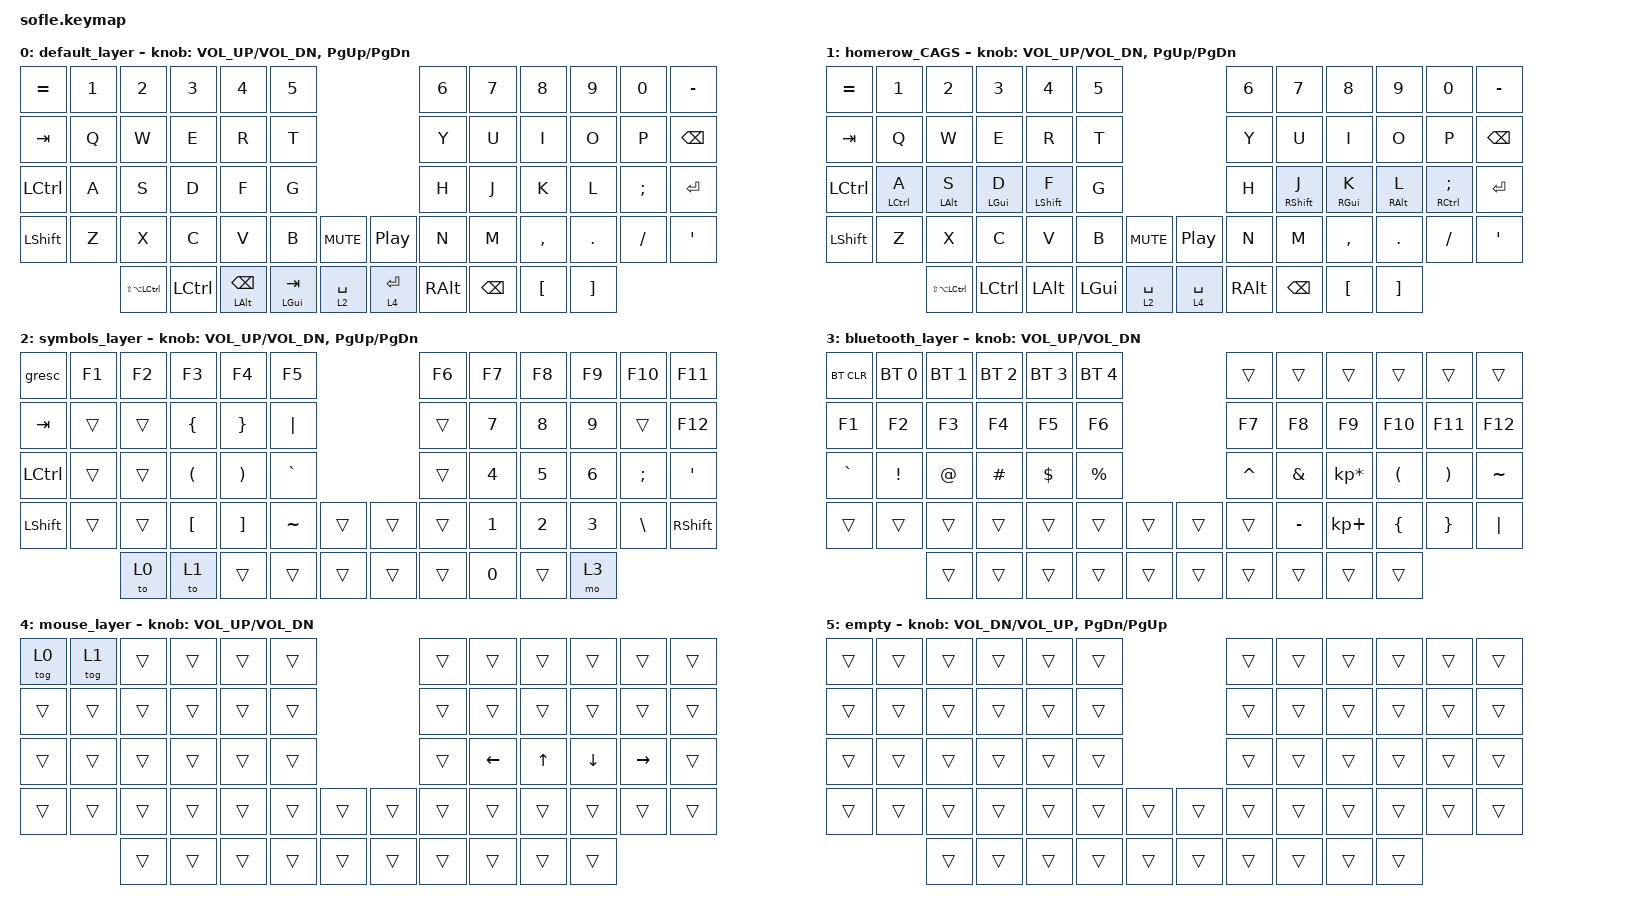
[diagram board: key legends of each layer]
/*
 * Copyright (c) 2020 The ZMK Contributors
 *
 * SPDX-License-Identifier: MIT
 */

#include <behaviors.dtsi>
#include <dt-bindings/zmk/bt.h>
#include <dt-bindings/zmk/keys.h>

// Layer aliases

#define DEFAULT 0
#define SYMS 1
#define BTLYR 2
#define MSE 3
#define DEFAULT_HOMEROW 4

//#define EMPTY 5
// Define our mod-tap behaviour

&mt {
    flavor = "tap-preferred";
    tapping-term-ms = <220>;
    retro-tap;
    quick-tap-ms = <50>;
};

// Define our layer-tap behaviour

&lt {
    flavor = "balanced";
    tapping-term-ms = <300>;
};

// Keymaps!

/ {
    behaviors {
        tdhrm: tdhrm {
            compatible = "zmk,behavior-tap-dance";
            label = "TDHRM";
            #binding-cells = <0>;
            bindings = <&kp EQUAL>, <&tog 1>;
        };
    };

    combos {
        compatible = "zmk,combos";

        Escape {
            bindings = <&kp ESCAPE>;
            key-positions = <13 14>;
        };
    };

    keymap {
        compatible = "zmk,keymap";

        default_layer {
            bindings = <
&kp EQUAL  &kp N1  &kp N2             &kp N3     &kp N4              &kp N5                                  &kp N6    &kp N7    &kp N8     &kp N9    &kp N0     &kp MINUS
&kp TAB    &kp Q   &kp W              &kp E      &kp R               &kp T                                   &kp Y     &kp U     &kp I      &kp O     &kp P      &kp BSPC
&kp LCTRL  &kp A   &kp S              &kp D      &kp F               &kp G                                   &kp H     &kp J     &kp K      &kp L     &kp SEMI   &kp RET
&kp LSHFT  &kp Z   &kp X              &kp C      &kp V               &kp B         &kp C_MUTE   &kp C_PP     &kp N     &kp M     &kp COMMA  &kp DOT   &kp SLASH  &kp SQT
                   &kp LS(LA(LCTRL))  &kp LCTRL  &mt LALT BACKSPACE  &mt LGUI TAB  &lt 2 SPACE  &lt 4 ENTER  &kp RALT  &kp BSPC  &kp LBKT   &kp RBKT
            >;

            sensor-bindings =
                <&inc_dec_kp C_VOL_UP C_VOL_DN>,
                <&inc_dec_kp PAGE_UP PAGE_DOWN>;
        };

        homerow_CAGS {
            bindings = <
&kp EQUAL  &kp N1       &kp N2             &kp N3          &kp N4        &kp N5                              &kp N6    &kp N7        &kp N8           &kp N9      &kp N0          &kp MINUS
&kp TAB    &kp Q        &kp W              &kp E           &kp R         &kp T                               &kp Y     &kp U         &kp I            &kp O       &kp P           &kp BSPC
&kp LCTRL  &mt LCTRL A  &mt LALT S         &mt LEFT_GUI D  &mt LSHIFT F  &kp G                               &kp H     &mt RSHIFT J  &mt RIGHT_GUI K  &mt RALT L  &mt RCTRL SEMI  &kp RET
&kp LSHFT  &kp Z        &kp X              &kp C           &kp V         &kp B     &kp C_MUTE   &kp C_PP     &kp N     &kp M         &kp COMMA        &kp DOT     &kp SLASH       &kp SQT
                        &kp LS(LA(LCTRL))  &kp LCTRL       &kp LEFT_ALT  &kp LGUI  &lt 2 SPACE  &lt 4 SPACE  &kp RALT  &kp BSPC      &kp LBKT         &kp RBKT
            >;

            sensor-bindings =
                <&inc_dec_kp C_VOL_UP C_VOL_DN>,
                <&inc_dec_kp PAGE_UP PAGE_DOWN>;
        };

        symbols_layer {
            bindings = <
&gresc     &kp F1  &kp F2  &kp F3    &kp F4    &kp F5                     &kp F6  &kp F7  &kp F8  &kp F9  &kp F10   &kp F11
&kp TAB    &trans  &trans  &kp LBRC  &kp RBRC  &kp PIPE                   &trans  &kp N7  &kp N8  &kp N9  &trans    &kp F12
&kp LCTRL  &trans  &trans  &kp LPAR  &kp RPAR  &kp GRAVE                  &trans  &kp N4  &kp N5  &kp N6  &kp SEMI  &kp SQT
&kp LSHFT  &trans  &trans  &kp LBKT  &kp RBKT  &kp TILDE  &trans  &trans  &trans  &kp N1  &kp N2  &kp N3  &kp BSLH  &kp RSHFT
                   &to 0   &to 1     &trans    &trans     &trans  &trans  &trans  &kp N0  &trans  &mo 3
            >;

            sensor-bindings =
                <&inc_dec_kp C_VOL_UP C_VOL_DN>,
                <&inc_dec_kp PAGE_UP PAGE_DOWN>;
        };

        bluetooth_layer {
            bindings = <
&bt BT_CLR  &bt BT_SEL 0  &bt BT_SEL 1  &bt BT_SEL 2  &bt BT_SEL 3  &bt BT_SEL 4                  &trans     &trans     &trans           &trans    &trans    &trans
&kp F1      &kp F2        &kp F3        &kp F4        &kp F5        &kp F6                        &kp F7     &kp F8     &kp F9           &kp F10   &kp F11   &kp F12
&kp GRAVE   &kp EXCL      &kp AT        &kp HASH      &kp DOLLAR    &kp PRCNT                     &kp CARET  &kp AMPS   &kp KP_MULTIPLY  &kp LPAR  &kp RPAR  &kp TILDE
&trans      &trans        &trans        &trans        &trans        &trans        &trans  &trans  &trans     &kp MINUS  &kp KP_PLUS      &kp LBRC  &kp RBRC  &kp PIPE
                          &trans        &trans        &trans        &trans        &trans  &trans  &trans     &trans     &trans           &trans
            >;

            sensor-bindings = <&inc_dec_kp C_VOL_UP C_VOL_DN>;
        };

        mouse_layer {
            bindings = <
&tog 0  &tog 1  &trans  &trans  &trans  &trans                  &trans  &trans    &trans  &trans    &trans     &trans
&trans  &trans  &trans  &trans  &trans  &trans                  &trans  &trans    &trans  &trans    &trans     &trans
&trans  &trans  &trans  &trans  &trans  &trans                  &trans  &kp LEFT  &kp UP  &kp DOWN  &kp RIGHT  &trans
&trans  &trans  &trans  &trans  &trans  &trans  &trans  &trans  &trans  &trans    &trans  &trans    &trans     &trans
                &trans  &trans  &trans  &trans  &trans  &trans  &trans  &trans    &trans  &trans
            >;

            sensor-bindings = <&inc_dec_kp C_VOL_UP C_VOL_DN>;
        };

        empty {
            bindings = <
&trans  &trans  &trans  &trans  &trans  &trans                  &trans  &trans  &trans  &trans  &trans  &trans
&trans  &trans  &trans  &trans  &trans  &trans                  &trans  &trans  &trans  &trans  &trans  &trans
&trans  &trans  &trans  &trans  &trans  &trans                  &trans  &trans  &trans  &trans  &trans  &trans
&trans  &trans  &trans  &trans  &trans  &trans  &trans  &trans  &trans  &trans  &trans  &trans  &trans  &trans
                &trans  &trans  &trans  &trans  &trans  &trans  &trans  &trans  &trans  &trans
            >;

            sensor-bindings = <&inc_dec_kp C_VOL_DN C_VOL_UP &inc_dec_kp PG_DN PG_UP>;
        };
    };
};

// ╭──────────┬───────────┬───────────┬────────────┬───────────┬───────────╮					  	  		  ╭───────────┬────────────┬───────────┬───────────┬─────────────┬───────────────╮
// ├──────────┼───────────┼───────────┼────────────┼───────────┼───────────┤					  	  		  ├───────────┼────────────┼───────────┼───────────┼─────────────┼───────────────┤
// ├──────────┼───────────┼───────────┼────────────┼───────────┼───────────┤					  	  		  ├───────────┼────────────┼───────────┼───────────┼─────────────┼───────────────┤
// ├──────────┼───────────┼───────────┼────────────┼───────────┼───────────┼──────────────╮		╭─────────────┼───────────┼────────────┼───────────┼───────────┼─────────────┼───────────────┤
// ╰──────────┴───────────┼───────────┼────────────┼───────────┼───────────┼──────────────┤		├─────────────┼───────────┼────────────┼───────────┼───────────┼─────────────┴───────────────╯
//  		  			  ╰───────────┴────────────┴───────────┴───────────┴──────────────╯		╰─────────────┴───────────┴────────────┴───────────┴───────────╯
